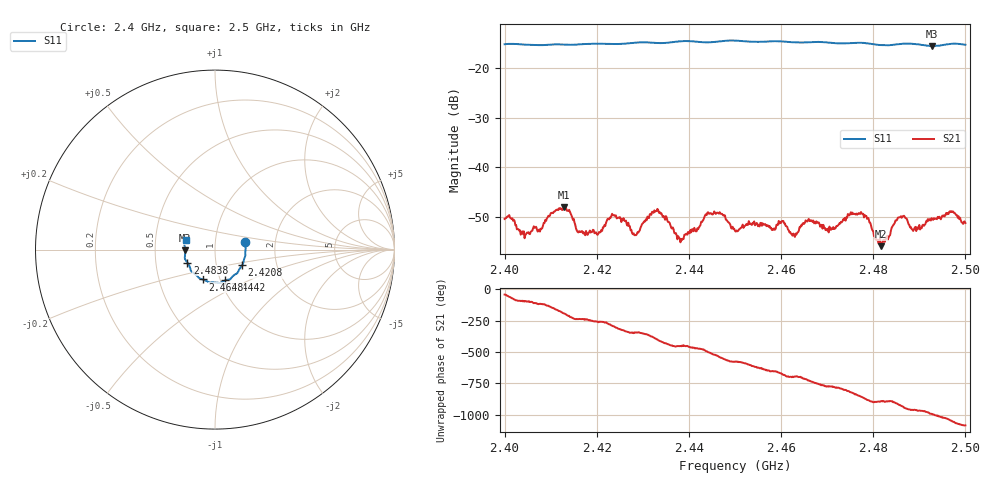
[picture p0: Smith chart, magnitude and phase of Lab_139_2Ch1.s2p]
# Hz S RI R 50
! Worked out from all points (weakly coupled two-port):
!   601 points, 2.4 GHz to 2.5 GHz, reference 50 ohm
!   highest |S21| = -47.93 dB at 2.4128 GHz (marker M1); lowest = -55.8 dB at 2.4817 GHz (marker M2)
!   lowest |S11| = -15.6 dB at 2.4928 GHz (marker M3), VSWR 1.40, Z = 35.8 - j0.362 ohm
!   |S11| at or under -10 dB: start of sweep to end of sweep
!   S12 and S22 are empty: the file has one direction only
!   S11 on the Smith chart (normalised r, x): 2.4 GHz: 1.40, +0.12; 2.4208 GHz: 1.33, -0.24; 2.4442 GHz: 1.05, -0.37; 2.4648 GHz: 0.83, -0.28; 2.4838 GHz: 0.73, -0.11; 2.5 GHz: 0.72, +0.08
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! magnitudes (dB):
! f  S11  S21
! 2.4 GHz  -15.3  -50.3
! 2.4048 GHz  -15.4  -53.1
! 2.4128 GHz  -15.3  -47.9
! 2.4167 GHz  -15.2  -52.8
! 2.4208 GHz  -15.2  -53.0
! 2.4237 GHz  -15.2  -49.6
! 2.4285 GHz  -14.9  -53.6
! 2.4333 GHz  -15.0  -48.6
! 2.4383 GHz  -14.7  -54.3
! 2.4442 GHz  -14.9  -49.0
! 2.45 GHz  -14.5  -52.7
! 2.4648 GHz  -14.9  -51.2
! 2.4667 GHz  -14.8  -50.6
! 2.4703 GHz  -14.9  -53.0
! 2.4773 GHz  -15.0  -49.0
! 2.4817 GHz  -15.4  -55.8
! 2.4833 GHz  -15.5  -54.1
! 2.4838 GHz  -15.4  -52.7
! 2.4858 GHz  -15.2  -50.0
! 2.4888 GHz  -15.2  -52.4
! 2.4928 GHz  -15.6  -50.3
! 2.5 GHz  -15.3  -51.2
